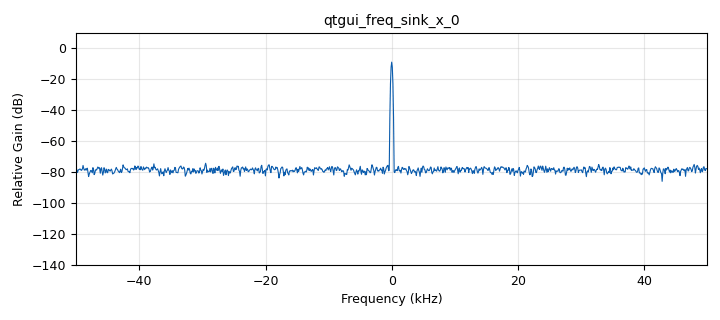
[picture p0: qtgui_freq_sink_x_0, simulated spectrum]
options:
  parameters:
    author: Stefano Speretta
    generate_options: qt_gui
    id: residual_carrier
    output_language: python
    title: Residual Carrier
  states: {}

blocks:
- name: constellation_0
  id: variable_constellation
  parameters:
    const_points: '[-1-0.5j, -1+0.5j]'
    dims: '1'
    precision: '8'
    rot_sym: '4'
    sym_map: '[0, 1]'
    type: calcdist
  states: {}
- name: datarate
  id: variable_qtgui_range
  parameters:
    label: Data Rate (bps
    orient: Qt.Horizontal
    start: '1000'
    step: '1000'
    stop: '20000'
    value: '4000'
    widget: counter
  states: {}
- name: frequency
  id: variable_qtgui_range
  parameters:
    label: Center frequency (Hz)
    orient: Qt.Horizontal
    start: '-10e3'
    step: '100'
    stop: 10e3
    value: '0'
  states: {}
- name: modulation_coeff
  id: variable_qtgui_range
  parameters:
    label: Modulation Coefficent
    orient: Qt.Horizontal
    start: '0'
    step: '0.1'
    stop: '2'
    value: '0'
    widget: counter
  states: {}
- name: samp_rate
  id: variable
  parameters:
    value: '100000'
  states: {}
- name: snr
  id: variable_qtgui_range
  parameters:
    label: SNR (dB)
    orient: Qt.Horizontal
    start: '-20'
    step: '1'
    stop: '50'
    value: '20'
  states: {}
- name: sweep_range
  id: variable_qtgui_range
  parameters:
    label: Sweep Range (Hz)
    orient: Qt.Horizontal
    start: '0'
    step: 1e3
    stop: 50e3
    value: '0'
  states: {}
- name: sweep_rate
  id: variable_qtgui_range
  parameters:
    label: Sweep rate (Hz/s)
    orient: Qt.Horizontal
    start: '0'
    step: '100'
    stop: 50e3
    value: '0'
  states: {}
- name: analog_noise_source_x_0
  id: analog_noise_source_x
  parameters:
    amp: 10**(-snr/10)
    noise_type: analog.GR_GAUSSIAN
    seed: '0'
    type: complex
  states: {}
- name: analog_phase_modulator_fc_0
  id: analog_phase_modulator_fc
  parameters:
    sensitivity: 2*modulation_coeff
  states: {}
- name: analog_random_source_x_1
  id: analog_random_source_x
  parameters:
    max: '2'
    min: '0'
    num_samps: '1000'
    repeat: 'True'
    type: int
  states: {}
- name: analog_sig_source_x_2_1
  id: analog_sig_source_x
  parameters:
    amp: 2*3.14159265359*sweep_range
    freq: 0 if sweep_range == 0 else sweep_rate/sweep_range
    offset: 2*3.14159265359*frequency
    phase: '-3.14159265359'
    samp_rate: samp_rate
    type: float
    waveform: analog.GR_TRI_WAVE
  states: {}
- name: blocks_add_const_vxx_0
  id: blocks_add_const_vxx
  parameters:
    const: '-0.5'
    type: float
  states: {}
- name: blocks_add_xx_1
  id: blocks_add_xx
  parameters:
    type: complex
  states: {}
- name: blocks_int_to_float_0
  id: blocks_int_to_float
  parameters:
    scale: '1'
  states: {}
- name: blocks_multiply_xx_0
  id: blocks_multiply_xx
  parameters:
    type: complex
  states: {}
- name: blocks_repeat_0
  id: blocks_repeat
  parameters:
    interp: '25'
    type: float
  states: {}
- name: blocks_throttle_0
  id: blocks_throttle
  parameters:
    samples_per_second: datarate*16
    type: int
  states: {}
- name: blocks_vco_c_0
  id: blocks_vco_c
  parameters:
    amplitude: '1'
    samp_rate: samp_rate
    sensitivity: '1'
  states: {}
- name: qtgui_freq_sink_x_0
  id: qtgui_freq_sink_x
  parameters:
    average: '0.1'
    bw: samp_rate
    fc: '0'
    fftsize: '1024'
    type: complex
    wintype: firdes.WIN_BLACKMAN_hARRIS
  states: {}

connections:
- [analog_noise_source_x_0, '0', blocks_add_xx_1, '1']
- [analog_phase_modulator_fc_0, '0', blocks_multiply_xx_0, '0']
- [analog_random_source_x_1, '0', blocks_throttle_0, '0']
- [analog_sig_source_x_2_1, '0', blocks_vco_c_0, '0']
- [blocks_add_const_vxx_0, '0', blocks_repeat_0, '0']
- [blocks_add_xx_1, '0', qtgui_freq_sink_x_0, '0']
- [blocks_int_to_float_0, '0', blocks_add_const_vxx_0, '0']
- [blocks_multiply_xx_0, '0', blocks_add_xx_1, '0']
- [blocks_repeat_0, '0', analog_phase_modulator_fc_0, '0']
- [blocks_throttle_0, '0', blocks_int_to_float_0, '0']
- [blocks_vco_c_0, '0', blocks_multiply_xx_0, '1']

metadata:
  file_format: 1
